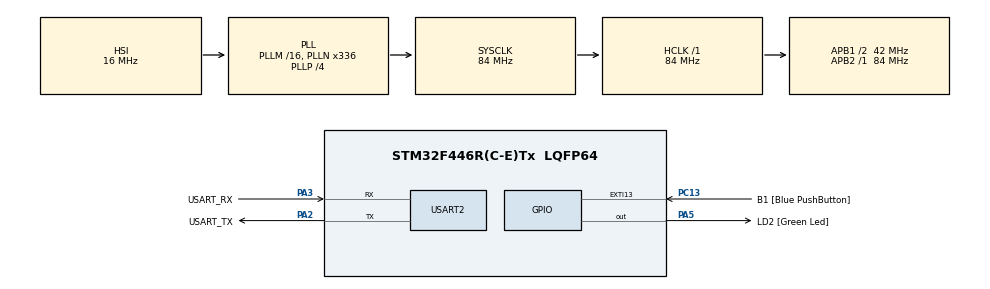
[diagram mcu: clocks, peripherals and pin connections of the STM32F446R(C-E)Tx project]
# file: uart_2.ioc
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Mcu.Family=STM32F4
Mcu.Name=STM32F446R(C-E)Tx
Mcu.Package=LQFP64
NVIC.PriorityGroup=NVIC_PRIORITYGROUP_0
NVIC.USART2_IRQn=true\:0\:0\:false\:false\:true\:true\:true\:true
PA13.GPIO_Label=TMS
PA13.Mode=Serial_Wire
PA13.Signal=SYS_JTMS-SWDIO
PA14.GPIO_Label=TCK
PA14.Mode=Serial_Wire
PA14.Signal=SYS_JTCK-SWCLK
PA2.GPIO_Label=USART_TX
PA2.Mode=Asynchronous
PA2.Signal=USART2_TX
PA3.GPIO_Label=USART_RX
PA3.Mode=Asynchronous
PA3.Signal=USART2_RX
PA5.GPIO_Label=LD2 [Green Led]
PA5.Signal=GPIO_Output
PB3.GPIO_Label=SWO
PB3.Signal=SYS_JTDO-SWO
PC13.GPIO_Label=B1 [Blue PushButton]
PC13.GPIO_ModeDefaultEXTI=GPIO_MODE_IT_FALLING
PC13.Signal=GPXTI13
PC14-OSC32_IN.Mode=LSE-External-Oscillator
PC14-OSC32_IN.Signal=RCC_OSC32_IN
PC15-OSC32_OUT.Mode=LSE-External-Oscillator
PC15-OSC32_OUT.Signal=RCC_OSC32_OUT
PH0-OSC_IN.Mode=HSE-External-Oscillator
PH0-OSC_IN.Signal=RCC_OSC_IN
PH1-OSC_OUT.Mode=HSE-External-Oscillator
PH1-OSC_OUT.Signal=RCC_OSC_OUT
ProjectManager.HeapSize=0x200
ProjectManager.StackSize=0x400
ProjectManager.TargetToolchain=STM32CubeIDE
RCC.48MHZClocksFreq_Value=84000000
RCC.AHBFreq_Value=84000000
RCC.APB1CLKDivider=RCC_HCLK_DIV2
RCC.APB1Freq_Value=42000000
RCC.APB1TimFreq_Value=84000000
RCC.APB2Freq_Value=84000000
RCC.APB2TimFreq_Value=84000000
RCC.CortexFreq_Value=84000000
RCC.FLatency-AdvancedSettings=FLASH_LATENCY_2
RCC.HCLKFreq_Value=84000000
RCC.HSE_VALUE=8000000
RCC.HSI_VALUE=16000000
RCC.PLLN=336
RCC.PLLP=RCC_PLLP_DIV4
RCC.SYSCLKFreq_VALUE=84000000
RCC.SYSCLKSource=RCC_SYSCLKSOURCE_PLLCLK
RCC.USBFreq_Value=168000000
RCC.VCOOutputFreq_Value=336000000
USART2.VirtualMode=VM_ASYNC
board=NUCLEO-F446RE

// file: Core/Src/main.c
/* USER CODE BEGIN Header */
/**
  ******************************************************************************
  * @file           : main.c
  * @brief          : Main program body
  ******************************************************************************
  * @attention
  *
  * Copyright (c) 2023 STMicroelectronics.
  * All rights reserved.
  *
  * This software is licensed under terms that can be found in the LICENSE file
  * in the root directory of this software component.
  * If no LICENSE file comes with this software, it is provided AS-IS.
  *
  ******************************************************************************
  */
/* USER CODE END Header */
#include "main.h"

UART_HandleTypeDef huart2;

void SystemClock_Config(void);
static void MX_GPIO_Init(void);
static void MX_USART2_UART_Init(void);

/* USER CODE BEGIN 0 */
int gUartReceived = 0;
uint8_t buffer[256];
/* USER CODE END 0 */

int main(void)
{

  /* MCU Configuration--------------------------------------------------------*/

  /* Reset of all peripherals, Initializes the Flash interface and the Systick. */
  HAL_Init();

  /* Configure the system clock */
  SystemClock_Config();

  /* Initialize all configured peripherals */
  MX_GPIO_Init();
  MX_USART2_UART_Init();

  /* Infinite loop */
  /* USER CODE BEGIN WHILE */
  while (1)
  {
	  	HAL_UART_Receive_IT(&huart2, buffer, 1);
	  	while (gUartReceived == 0)
	  	{
	  		;
	  	}
	  	gUartReceived = 0;

	  	uint8_t ans_val = 1; //test
	  	if(buffer[0] == ans_val){
	  		HAL_GPIO_WritePin(GPIOA,GPIO_PIN_5,GPIO_PIN_SET);
			HAL_Delay(500);
			HAL_GPIO_WritePin(GPIOA,GPIO_PIN_5,GPIO_PIN_RESET);
	  	}else {

			/*HAL_GPIO_WritePin(GPIOA,GPIO_PIN_5,GPIO_PIN_SET);
			HAL_Delay(1000);
			HAL_GPIO_WritePin(GPIOA,GPIO_PIN_5,GPIO_PIN_RESET);
			HAL_Delay(1000);
			HAL_GPIO_WritePin(GPIOA,GPIO_PIN_5,GPIO_PIN_SET);
			HAL_Delay(1000);
			HAL_GPIO_WritePin(GPIOA,GPIO_PIN_5,GPIO_PIN_RESET);
			*/
	  		;
	  	}

	    /* USER CODE END WHILE */

    /* USER CODE BEGIN 3 */
	  	buffer[0] = 0;
  }
  /* USER CODE END 3 */
}

void SystemClock_Config(void)
{
  RCC_OscInitTypeDef RCC_OscInitStruct = {0};
  RCC_ClkInitTypeDef RCC_ClkInitStruct = {0};

  /** Configure the main internal regulator output voltage
  */
  __HAL_RCC_PWR_CLK_ENABLE();
  __HAL_PWR_VOLTAGESCALING_CONFIG(PWR_REGULATOR_VOLTAGE_SCALE3);

  /** Initializes the RCC Oscillators according to the specified parameters
  * in the RCC_OscInitTypeDef structure.
  */
  RCC_OscInitStruct.OscillatorType = RCC_OSCILLATORTYPE_HSI;
  RCC_OscInitStruct.HSIState = RCC_HSI_ON;
  RCC_OscInitStruct.HSICalibrationValue = RCC_HSICALIBRATION_DEFAULT;
  RCC_OscInitStruct.PLL.PLLState = RCC_PLL_ON;
  RCC_OscInitStruct.PLL.PLLSource = RCC_PLLSOURCE_HSI;
  RCC_OscInitStruct.PLL.PLLM = 16;
  RCC_OscInitStruct.PLL.PLLN = 336;
  RCC_OscInitStruct.PLL.PLLP = RCC_PLLP_DIV4;
  RCC_OscInitStruct.PLL.PLLQ = 2;
  RCC_OscInitStruct.PLL.PLLR = 2;
  if (HAL_RCC_OscConfig(&RCC_OscInitStruct) != HAL_OK)
  {
    Error_Handler();
  }

  /** Initializes the CPU, AHB and APB buses clocks
  */
  RCC_ClkInitStruct.ClockType = RCC_CLOCKTYPE_HCLK|RCC_CLOCKTYPE_SYSCLK
                              |RCC_CLOCKTYPE_PCLK1|RCC_CLOCKTYPE_PCLK2;
  RCC_ClkInitStruct.SYSCLKSource = RCC_SYSCLKSOURCE_PLLCLK;
  RCC_ClkInitStruct.AHBCLKDivider = RCC_SYSCLK_DIV1;
  RCC_ClkInitStruct.APB1CLKDivider = RCC_HCLK_DIV2;
  RCC_ClkInitStruct.APB2CLKDivider = RCC_HCLK_DIV1;

  if (HAL_RCC_ClockConfig(&RCC_ClkInitStruct, FLASH_LATENCY_2) != HAL_OK)
  {
    Error_Handler();
  }
}

static void MX_USART2_UART_Init(void)
{

  huart2.Instance = USART2;
  huart2.Init.BaudRate = 115200;
  huart2.Init.WordLength = UART_WORDLENGTH_8B;
  huart2.Init.StopBits = UART_STOPBITS_1;
  huart2.Init.Parity = UART_PARITY_NONE;
  huart2.Init.Mode = UART_MODE_TX_RX;
  huart2.Init.HwFlowCtl = UART_HWCONTROL_NONE;
  huart2.Init.OverSampling = UART_OVERSAMPLING_16;
  if (HAL_UART_Init(&huart2) != HAL_OK)
  {
    Error_Handler();
  }

}

static void MX_GPIO_Init(void)
{
  GPIO_InitTypeDef GPIO_InitStruct = {0};

  /* GPIO Ports Clock Enable */
  __HAL_RCC_GPIOC_CLK_ENABLE();
  __HAL_RCC_GPIOH_CLK_ENABLE();
  __HAL_RCC_GPIOA_CLK_ENABLE();
  __HAL_RCC_GPIOB_CLK_ENABLE();

  /*Configure GPIO pin Output Level */
  HAL_GPIO_WritePin(LD2_GPIO_Port, LD2_Pin, GPIO_PIN_RESET);

  /*Configure GPIO pin : B1_Pin */
  GPIO_InitStruct.Pin = B1_Pin;
  GPIO_InitStruct.Mode = GPIO_MODE_IT_FALLING;
  GPIO_InitStruct.Pull = GPIO_NOPULL;
  HAL_GPIO_Init(B1_GPIO_Port, &GPIO_InitStruct);

  /*Configure GPIO pin : LD2_Pin */
  GPIO_InitStruct.Pin = LD2_Pin;
  GPIO_InitStruct.Mode = GPIO_MODE_OUTPUT_PP;
  GPIO_InitStruct.Pull = GPIO_NOPULL;
  GPIO_InitStruct.Speed = GPIO_SPEED_FREQ_LOW;
  HAL_GPIO_Init(LD2_GPIO_Port, &GPIO_InitStruct);

}

/* USER CODE BEGIN 4 */
void HAL_UART_RxCpltCallback(UART_HandleTypeDef *huart)
{
	  gUartReceived = 1;
	  //HAL_UART_Receive_IT(&huart2, buffer, 1);
}
/* USER CODE END 4 */

void Error_Handler(void)
{
  __disable_irq();
  while (1)
  {
  }
}
